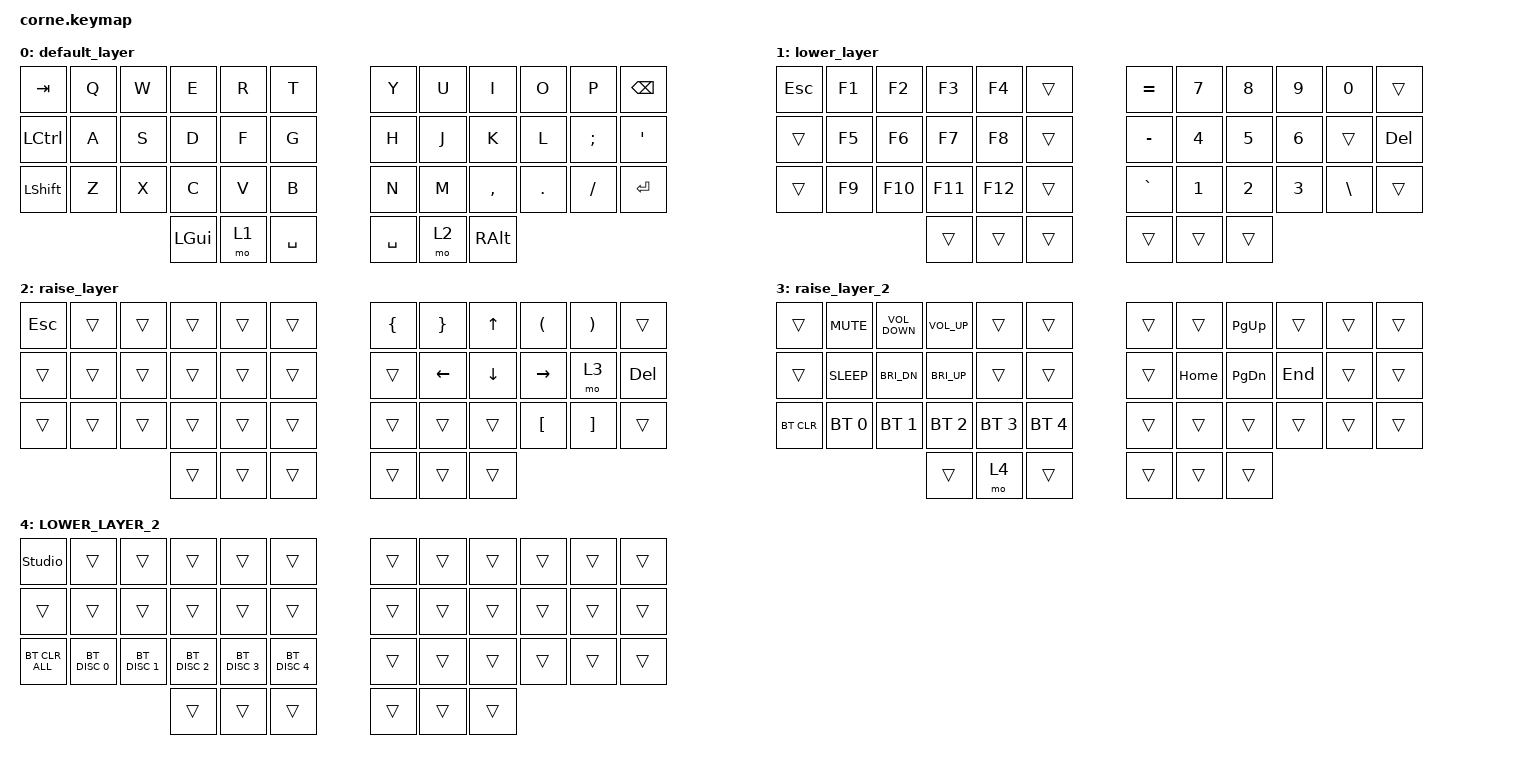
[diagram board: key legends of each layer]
/*
 * Copyright (c) 2020 The ZMK Contributors
 *
 * SPDX-License-Identifier: MIT
 */

#include <behaviors.dtsi>
#include <dt-bindings/zmk/bt.h>
#include <dt-bindings/zmk/keys.h>

/ {
    keymap {
        compatible = "zmk,keymap";

        default_layer {
            bindings = <
&kp TAB           &kp Q  &kp W  &kp E     &kp R  &kp T        &kp Y      &kp U  &kp I      &kp O    &kp P     &kp BSPC
&kp LEFT_CONTROL  &kp A  &kp S  &kp D     &kp F  &kp G        &kp H      &kp J  &kp K      &kp L    &kp SEMI  &kp SQT
&kp LEFT_SHIFT    &kp Z  &kp X  &kp C     &kp V  &kp B        &kp N      &kp M  &kp COMMA  &kp DOT  &kp FSLH  &kp ENTER
                                &kp LGUI  &mo 1  &kp SPACE    &kp SPACE  &mo 2  &kp RALT
            >;
        };

        lower_layer {
            bindings = <
&kp ESCAPE  &kp F1  &kp F2   &kp F3   &kp F4   &trans    &kp EQUAL  &kp NUMBER_7  &kp N8        &kp N9        &kp N0         &trans
&trans      &kp F5  &kp F6   &kp F7   &kp F8   &trans    &kp MINUS  &kp NUMBER_4  &kp N5        &kp NUMBER_6  &trans         &kp DEL
&trans      &kp F9  &kp F10  &kp F11  &kp F12  &trans    &kp GRAVE  &kp NUMBER_1  &kp NUMBER_2  &kp NUMBER_3  &kp BACKSLASH  &trans
                             &trans   &trans   &trans    &trans     &trans        &trans
            >;
        };

        raise_layer {
            bindings = <
&kp ESC  &trans  &trans  &trans  &trans  &trans    &kp LEFT_BRACE  &kp RIGHT_BRACE  &kp UP_ARROW  &kp LEFT_PARENTHESIS  &kp RIGHT_PARENTHESIS  &trans
&trans   &trans  &trans  &trans  &trans  &trans    &trans          &kp LEFT         &kp DOWN      &kp RIGHT             &mo 3                  &kp DELETE
&trans   &trans  &trans  &trans  &trans  &trans    &trans          &trans           &trans        &kp LEFT_BRACKET      &kp RIGHT_BRACKET      &trans
                         &trans  &trans  &trans    &trans          &trans           &trans
            >;
        };

        raise_layer_2 {
            bindings = <
&trans      &kp C_MUTE    &kp C_VOLUME_DOWN  &kp C_VOLUME_UP  &trans        &trans          &trans  &trans    &kp PAGE_UP    &trans   &trans  &trans
&trans      &kp C_SLEEP   &kp C_BRI_DN       &kp C_BRI_UP     &trans        &trans          &trans  &kp HOME  &kp PAGE_DOWN  &kp END  &trans  &trans
&bt BT_CLR  &bt BT_SEL 0  &bt BT_SEL 1       &bt BT_SEL 2     &bt BT_SEL 3  &bt BT_SEL 4    &trans  &trans    &trans         &trans   &trans  &trans
                                             &trans           &mo 4         &trans          &trans  &trans    &trans
            >;
        };

        LOWER_LAYER_2 {
            bindings = <
&studio_unlock  &trans         &trans         &trans         &trans         &trans           &trans  &trans  &trans  &trans  &trans  &trans
&trans          &trans         &trans         &trans         &trans         &trans           &trans  &trans  &trans  &trans  &trans  &trans
&bt BT_CLR_ALL  &bt BT_DISC 0  &bt BT_DISC 1  &bt BT_DISC 2  &bt BT_DISC 3  &bt BT_DISC 4    &trans  &trans  &trans  &trans  &trans  &trans
                                              &trans         &trans         &trans           &trans  &trans  &trans
            >;
        };
    };
};
